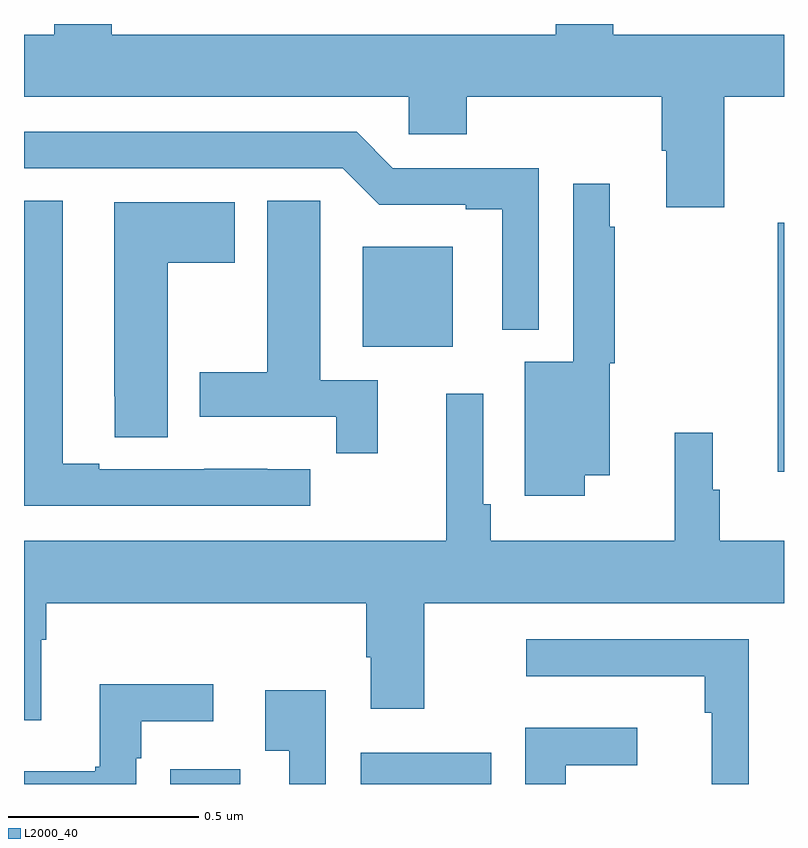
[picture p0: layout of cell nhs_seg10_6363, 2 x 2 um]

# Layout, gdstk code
import gdstk
lib = gdstk.Library(unit=1e-6, precision=1e-09)
def R(c, l, rs):  # rectangles x0, y0, x1, y1
    for r in rs: c.add(gdstk.rectangle(r[:2], r[2:], *l))
def P(c, l, *ps):  # polygons
    for p in ps: c.add(gdstk.Polygon(p, *l))
L2000_40 = (2000, 40)

nhs_seg10_6363 = lib.new_cell('nhs_seg10_6363')
R(nhs_seg10_6363, L2000_40, [(190.385,1306.5,190.569,1306.539), (190.886,1306.5,191.23,1306.582), (190.892,1307.651,191.128,1307.914)])
P(nhs_seg10_6363, L2000_40, [(191.843,1308.308),(192,1308.308),(192,1308.472),(191.55,1308.472),(191.55,1308.5),(191.399,1308.5),(191.399,1308.472),(190.231,1308.472),(190.231,1308.5),(190.079,1308.5),(190.079,1308.472),(190,1308.472),(190,1308.308),(191.013,1308.308),(191.013,1308.21),(191.165,1308.21),(191.165,1308.308),(191.678,1308.308),(191.678,1308.166),(191.69,1308.166),(191.69,1308.018),(191.843,1308.018)],
  [(191.355,1308.12),(190.971,1308.12),(190.875,1308.216),(190,1308.216),(190,1308.12),(190.839,1308.12),(190.935,1308.024),(191.162,1308.024),(191.162,1308.012),(191.258,1308.012),(191.258,1307.696),(191.355,1307.696)],
  [(191.476,1307.312),(191.542,1307.312),(191.542,1307.607),(191.554,1307.607),(191.554,1307.966),(191.542,1307.966),(191.542,1308.079),(191.445,1308.079),(191.445,1307.611),(191.318,1307.611),(191.318,1307.259),(191.476,1307.259)],
  [(190.931,1307.562),(190.78,1307.562),(190.78,1307.924),(190.779,1307.924),(190.779,1308.035),(190.64,1308.035),(190.64,1307.583),(190.463,1307.583),(190.463,1307.466),(190.822,1307.466),(190.822,1307.37),(190.931,1307.37)],
  [(190.753,1307.328),(190.64,1307.328),(190.64,1307.329),(190.474,1307.329),(190.474,1307.328),(190.198,1307.328),(190.198,1307.343),(190.102,1307.343),(190.102,1308.035),(190,1308.035),(190,1307.232),(190.753,1307.232)],
  [(190.378,1307.872),(190.555,1307.872),(190.555,1308.031),(190.238,1308.031),(190.238,1307.521),(190.239,1307.521),(190.239,1307.413),(190.378,1307.413)],
  [(192,1307.977),(191.983,1307.977),(191.983,1307.67),(191.984,1307.67),(191.984,1307.322),(192,1307.322)],
  [(190.045,1306.88),(190.058,1306.88),(190.058,1306.976),(190.901,1306.976),(190.901,1306.834),(190.913,1306.834),(190.913,1306.698),(191.053,1306.698),(191.053,1306.976),(192,1306.976),(192,1307.14),(191.831,1307.14),(191.831,1307.274),(191.812,1307.274),(191.812,1307.425),(191.713,1307.425),(191.713,1307.14),(191.228,1307.14),(191.228,1307.236),(191.208,1307.236),(191.208,1307.527),(191.111,1307.527),(191.111,1307.14),(190,1307.14),(190,1306.668),(190.045,1306.668)],
  [(191.907,1306.881),(191.322,1306.881),(191.322,1306.784),(191.791,1306.784),(191.791,1306.688),(191.81,1306.688),(191.81,1306.5),(191.907,1306.5)],
  [(190.296,1306.568),(190.309,1306.568),(190.309,1306.665),(190.498,1306.665),(190.498,1306.763),(190.199,1306.763),(190.199,1306.546),(190.188,1306.546),(190.188,1306.534),(190,1306.534),(190,1306.5),(190.296,1306.5)],
  [(190.794,1306.747),(190.635,1306.747),(190.635,1306.587),(190.698,1306.587),(190.698,1306.5),(190.794,1306.5)],
  [(191.425,1306.549),(191.614,1306.549),(191.614,1306.648),(191.319,1306.648),(191.319,1306.5),(191.425,1306.5)])

lib.write_gds('nhs_seg10_6363.gds')
